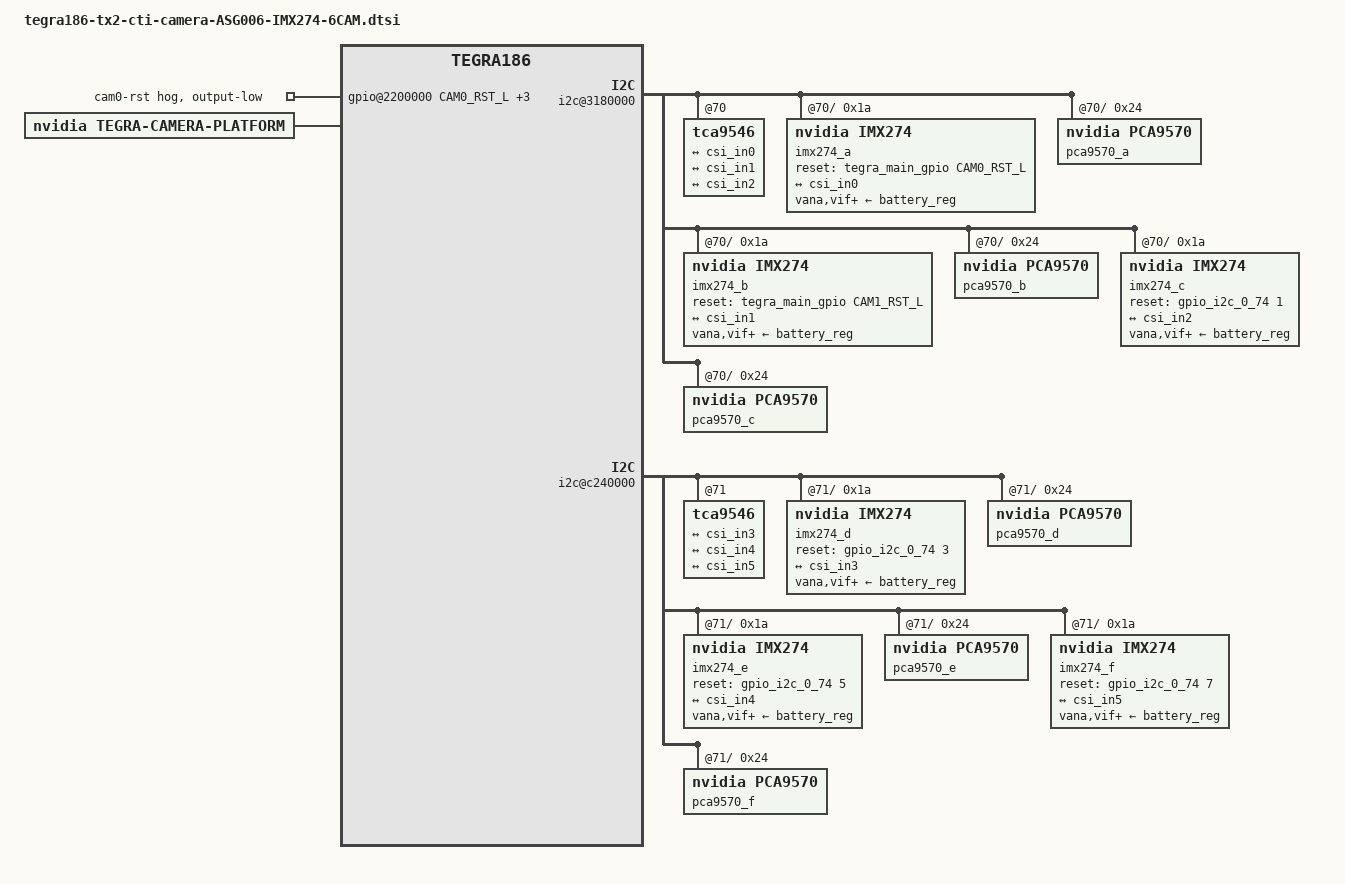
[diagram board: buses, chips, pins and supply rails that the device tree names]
#include <t18x-common-platforms/tegra186-tx2-cti-camera-base.dtsi>
#include "dt-bindings/clock/tegra186-clock.h"


/* camera control gpio definitions */

#define CAM0_RST_L  TEGRA_MAIN_GPIO(R, 5)
#define CAM0_PWDN   TEGRA_MAIN_GPIO(R, 0)
#define CAM1_RST_L  TEGRA_MAIN_GPIO(R, 1)
#define CAM1_PWDN   TEGRA_MAIN_GPIO(N, 2)


/ {
    
    gpio@2200000 {
        camera-control-output-low {
            gpio-hog;
            output-low;
            gpios = <CAM0_RST_L 0 CAM0_PWDN 0
                 CAM1_RST_L 0 CAM1_PWDN 0>;
            label = "cam0-rst", "cam0-pwdn",
                "cam1-rst", "cam1-pwdn";
        };
    };


/**********************SENSORS******************************************************************/

	i2c@3180000 {       //set this to correct i2c bus 
        tca9546@70{    
            i2c@0{  //cam_i2c/Mux@70/I2C_A
                #address-cells = <1>;
                #size-cells = <0>;

                imx274_a@1a {
                    compatible = "nvidia,imx274";
                    reg = <0x1a>;
                    devnode = "video0";

                    /* Physical dimensions of sensor */
                    physical_w = "3.674";
                    physical_h = "2.738";
                    clocks = <&tegra_car TEGRA186_CLK_EXTPERIPH1>,
                             <&tegra_car TEGRA186_CLK_PLLP_OUT0>;
                    clock-names = "extperiph1", "pllp_grtba";
                    mclk = "extperiph1";
                    sensor_model = "imx274";
                    delayed_gain = "true";
                    reset-gpios = <&tegra_main_gpio CAM0_RST_L GPIO_ACTIVE_HIGH>;
                    vana-supply = <&battery_reg>;
                    vif-supply = <&battery_reg>;
                    vdig-supply = <&battery_reg>;
                    avdd-reg = "vana";
                    iovdd-reg = "vif";
                    dvdd-reg = "vdig";

                    mode0 {
                        mclk_khz = "24000";
                        num_lanes = "2";
                        tegra_sinterface = "serial_a";
                        discontinuous_clk = "yes";
                        dpcm_enable = "false";
                        cil_settletime = "0";

                        active_w = "3840";
                        active_h = "2160";
                        pixel_t = "bayer_rggb";
                        readout_orientation = "90";
                        line_length = "4200";
                        inherent_gain = "1";
                        mclk_multiplier = "24";
                        pix_clk_hz = "576000000";

                        min_gain_val = "1.0";
                        max_gain_val = "180";
                        min_hdr_ratio = "1";
                        max_hdr_ratio = "64";
                        min_framerate = "1.462526";
                        max_framerate = "60";
                        min_exp_time = "16.165";
                        max_exp_time = "165770";
                        //embedded_metadata_height = "1";
                    };
                    mode1 { // IMX274_MODE_1920X1080
                        mclk_khz = "24000";
                        num_lanes = "2";
                        tegra_sinterface = "serial_a";
                        discontinuous_clk = "yes";
                        dpcm_enable = "false";
                        cil_settletime = "0";

                        active_w = "1920";
                        active_h = "1080";
                        pixel_t = "bayer_rggb";
                        readout_orientation = "90";
                        line_length = "4200";
                        inherent_gain = "1";
                        mclk_multiplier = "24";
                        pix_clk_hz = "576000000";

                        min_gain_val = "1.0";
                        max_gain_val = "180";
                        min_hdr_ratio = "1";
                        max_hdr_ratio = "64";
                        min_framerate = "1.462526";
                        max_framerate = "60";
                        min_exp_time = "16.165";
                        max_exp_time = "165770";
    //                  embedded_metadata_height = "1";
                    };
                    mode2 { // IMX274_MODE_1280X720
                        mclk_khz = "24000";
                        num_lanes = "2";
                        tegra_sinterface = "serial_a";
                        discontinuous_clk = "yes";
                        dpcm_enable = "false";
                        cil_settletime = "0";

                        active_w = "1280";
                        active_h = "720";
                        pixel_t = "bayer_rggb";
                        readout_orientation = "90";
                        line_length = "4200";
                        inherent_gain = "1";
                        mclk_multiplier = "24";
                        pix_clk_hz = "576000000";

                        min_gain_val = "1.0";
                        max_gain_val = "180";
                        min_hdr_ratio = "1";
                        max_hdr_ratio = "64";
                        min_framerate = "1.462526";
                        max_framerate = "60";
                        min_exp_time = "16.165";
                        max_exp_time = "165770";
    //                  embedded_metadata_height = "1";
                    };

                    mode3 { // IMX274_MODE_1280X540
                        mclk_khz = "24000";
                        num_lanes = "2";
                        tegra_sinterface = "serial_a";
                        discontinuous_clk = "yes";
                        dpcm_enable = "false";
                        cil_settletime = "0";

                        active_w = "1280";
                        active_h = "540";
                        pixel_t = "bayer_rggb";
                        readout_orientation = "90";
                        line_length = "4200";
                        inherent_gain = "1";
                        mclk_multiplier = "24";
                        pix_clk_hz = "576000000";

                        min_gain_val = "1.0";
                        max_gain_val = "180";
                        min_hdr_ratio = "1";
                        max_hdr_ratio = "64";
                        min_framerate = "1.462526";
                        max_framerate = "60";
                        min_exp_time = "16.165";
                        max_exp_time = "165770";
    //                  embedded_metadata_height = "1";
                    };


                    ports {
                        #address-cells = <1>;
                        #size-cells = <0>;

                        port@0 {
                            reg = <0>;
                            imx274_out0: endpoint {
                                csi-port = <0>;
                                bus-width = <2>;
                                remote-endpoint = <&csi_in0>;
                            };
                        };
                    };
                };

                pca9570_a@24 {
                    compatible = "nvidia,pca9570";
                    reg = <0x24>;
                    channel = "a";
                    drive_ic= "DRV8838";
                   };

            };


            i2c@1{  //cam_i2c/Mux@70/I2C_B
                #address-cells = <1>;
                #size-cells = <0>;

                imx274_b@1a {
                    compatible = "nvidia,imx274";
                    reg = <0x1a>;
                    devnode = "video1";

                    /* Physical dimensions of sensor */
                    physical_w = "3.674";
                    physical_h = "2.738";
                    clocks = <&tegra_car TEGRA186_CLK_EXTPERIPH1>,
                             <&tegra_car TEGRA186_CLK_PLLP_OUT0>;
                    clock-names = "extperiph1", "pllp_grtba";
                    mclk = "extperiph1";
                    sensor_model = "imx274";
                    delayed_gain = "true";
                    reset-gpios = <&tegra_main_gpio CAM1_RST_L GPIO_ACTIVE_HIGH>;
                    vana-supply = <&battery_reg>;
                    vif-supply = <&battery_reg>;
                    vdig-supply = <&battery_reg>;
                    avdd-reg = "vana";
                    iovdd-reg = "vif";
                    dvdd-reg = "vdig";

                    mode0 {
                        mclk_khz = "24000";
                        num_lanes = "2";
                        tegra_sinterface = "serial_b";
                        discontinuous_clk = "yes";
                        dpcm_enable = "false";
                        cil_settletime = "0";

                        active_w = "3840";
                        active_h = "2160";
                        pixel_t = "bayer_rggb";
                        readout_orientation = "90";
                        line_length = "4200";
                        inherent_gain = "1";
                        mclk_multiplier = "24";
                        pix_clk_hz = "576000000";

                        min_gain_val = "1.0";
                        max_gain_val = "180";
                        min_hdr_ratio = "1";
                        max_hdr_ratio = "64";
                        min_framerate = "1.462526";
                        max_framerate = "60";
                        min_exp_time = "16.165";
                        max_exp_time = "165770";
                        //embedded_metadata_height = "1";
                    };
                    mode1 { // IMX274_MODE_1920X1080
                        mclk_khz = "24000";
                        num_lanes = "2";
                        tegra_sinterface = "serial_b";
                        discontinuous_clk = "yes";
                        dpcm_enable = "false";
                        cil_settletime = "0";

                        active_w = "1920";
                        active_h = "1080";
                        pixel_t = "bayer_rggb";
                        readout_orientation = "90";
                        line_length = "4200";
                        inherent_gain = "1";
                        mclk_multiplier = "24";
                        pix_clk_hz = "576000000";

                        min_gain_val = "1.0";
                        max_gain_val = "180";
                        min_hdr_ratio = "1";
                        max_hdr_ratio = "64";
                        min_framerate = "1.462526";
                        max_framerate = "60";
                        min_exp_time = "16.165";
                        max_exp_time = "165770";
    //                  embedded_metadata_height = "1";
                    };
                    mode2 { // IMX274_MODE_1280X720
                        mclk_khz = "24000";
                        num_lanes = "2";
                        tegra_sinterface = "serial_b";
                        discontinuous_clk = "yes";
                        dpcm_enable = "false";
                        cil_settletime = "0";

                        active_w = "1280";
                        active_h = "720";
                        pixel_t = "bayer_rggb";
                        readout_orientation = "90";
                        line_length = "4200";
                        inherent_gain = "1";
                        mclk_multiplier = "24";
                        pix_clk_hz = "576000000";

                        min_gain_val = "1.0";
                        max_gain_val = "180";
                        min_hdr_ratio = "1";
                        max_hdr_ratio = "64";
                        min_framerate = "1.462526";
                        max_framerate = "60";
                        min_exp_time = "16.165";
                        max_exp_time = "165770";
    //                  embedded_metadata_height = "1";
                    };

                    mode3 { // IMX274_MODE_1280X540
                        mclk_khz = "24000";
                        num_lanes = "2";
                        tegra_sinterface = "serial_b";
                        discontinuous_clk = "yes";
                        dpcm_enable = "false";
                        cil_settletime = "0";

                        active_w = "1280";
                        active_h = "540";
                        pixel_t = "bayer_rggb";
                        readout_orientation = "90";
                        line_length = "4200";
                        inherent_gain = "1";
                        mclk_multiplier = "24";
                        pix_clk_hz = "576000000";

                        min_gain_val = "1.0";
                        max_gain_val = "180";
                        min_hdr_ratio = "1";
                        max_hdr_ratio = "64";
                        min_framerate = "1.462526";
                        max_framerate = "60";
                        min_exp_time = "16.165";
                        max_exp_time = "165770";
    //                  embedded_metadata_height = "1";
                    };


                    ports {
                        #address-cells = <1>;
                        #size-cells = <0>;

                        port@0 {
                            reg = <0>;
                            imx274_out1: endpoint {
                                csi-port = <1>;
                                bus-width = <2>;
                                remote-endpoint = <&csi_in1>;
                            };
                        };
                    };
                };

                pca9570_b@24 {
                    compatible = "nvidia,pca9570";
                    reg = <0x24>;
                    channel = "b";
                    drive_ic= "DRV8838";
                   };

            };


            i2c@2 { //cam_i2c/Mux@70/I2C_C
                #address-cells = <1>;
                #size-cells = <0>;
                imx274_c@1a {
                    compatible = "nvidia,imx274";
                    reg = <0x1a>;
                    devnode = "video2";

                    /* Physical dimensions of sensor */
                    physical_w = "3.674";
                    physical_h = "2.738";

                    /* Define any required hw resources needed by driver */
                    /* ie. clocks, io pins, power sources */
                    clocks = <&tegra_car TEGRA186_CLK_EXTPERIPH2>,
                         <&tegra_car TEGRA186_CLK_PLLP_OUT0>;
                    clock-names = "extperiph2", "pllp_grtba";
                    mclk = "extperiph2";
                    reset-gpios = <&gpio_i2c_0_74 1 GPIO_ACTIVE_HIGH>;
                    vana-supply = <&battery_reg>;
                    vif-supply = <&battery_reg>;
                    vdig-supply = <&battery_reg>;
                    avdd-reg = "vana";
                    iovdd-reg = "vif";
                    dvdd-reg = "vdig";

                    mode0 {
                        mclk_khz = "24000";
                        num_lanes = "2";
                        tegra_sinterface = "serial_c";
                        discontinuous_clk = "yes";
                        dpcm_enable = "false";
                        cil_settletime = "0";

                        active_w = "3840";
                        active_h = "2160";
                        pixel_t = "bayer_rggb";
                        readout_orientation = "90";
                        line_length = "4200";
                        inherent_gain = "1";
                        mclk_multiplier = "24";
                        pix_clk_hz = "576000000";

                        min_gain_val = "1.0";
                        max_gain_val = "180";
                        min_hdr_ratio = "1";
                        max_hdr_ratio = "64";
                        min_framerate = "1.462526";
                        max_framerate = "60";
                        min_exp_time = "16.165";
                        max_exp_time = "165770";
                        //embedded_metadata_height = "1";
                    };

                    mode1 { // IMX274_MODE_1920X1080
                        mclk_khz = "24000";
                        num_lanes = "2";
                        tegra_sinterface = "serial_c";
                        discontinuous_clk = "yes";
                        dpcm_enable = "false";
                        cil_settletime = "0";

                        active_w = "1920";
                        active_h = "1080";
                        pixel_t = "bayer_rggb";
                        readout_orientation = "90";
                        line_length = "4200";
                        inherent_gain = "1";
                        mclk_multiplier = "24";
                        pix_clk_hz = "576000000";

                        min_gain_val = "1.0";
                        max_gain_val = "180";
                        min_hdr_ratio = "1";
                        max_hdr_ratio = "64";
                        min_framerate = "1.462526";
                        max_framerate = "60";
                        min_exp_time = "16.165";
                        max_exp_time = "165770";
    //                  embedded_metadata_height = "1";
                    };
                    mode2 { // IMX274_MODE_1280X720
                        mclk_khz = "24000";
                        num_lanes = "2";
                        tegra_sinterface = "serial_c";
                        discontinuous_clk = "yes";
                        dpcm_enable = "false";
                        cil_settletime = "0";

                        active_w = "1280";
                        active_h = "720";
                        pixel_t = "bayer_rggb";
                        readout_orientation = "90";
                        line_length = "4200";
                        inherent_gain = "1";
                        mclk_multiplier = "24";
                        pix_clk_hz = "576000000";

                        min_gain_val = "1.0";
                        max_gain_val = "180";
                        min_hdr_ratio = "1";
                        max_hdr_ratio = "64";
                        min_framerate = "1.462526";
                        max_framerate = "60";
                        min_exp_time = "16.165";
                        max_exp_time = "165770";
    //                  embedded_metadata_height = "1";
                    };
                    mode3 { // IMX274_MODE_1280X540
                        mclk_khz = "24000";
                        num_lanes = "2";
                        tegra_sinterface = "serial_c";
                        discontinuous_clk = "yes";
                        dpcm_enable = "false";
                        cil_settletime = "0";

                        active_w = "1280";
                        active_h = "540";
                        pixel_t = "bayer_rggb";
                        readout_orientation = "90";
                        line_length = "4200";
                        inherent_gain = "1";
                        mclk_multiplier = "24";
                        pix_clk_hz = "576000000";

                        min_gain_val = "1.0";
                        max_gain_val = "180";
                        min_hdr_ratio = "1";
                        max_hdr_ratio = "64";
                        min_framerate = "1.462526";
                        max_framerate = "60";
                        min_exp_time = "16.165";
                        max_exp_time = "165770";
    //                  embedded_metadata_height = "1";
                    };

                    ports {
                        #address-cells = <1>;
                        #size-cells = <0>;

                        port@0 {
                            reg = <0>;
                            imx274_out2: endpoint {
                                csi-port = <2>;
                                bus-width = <2>;
                                remote-endpoint = <&csi_in2>;
                            };
                        };
                    };
                };

                pca9570_c@24 {
                    compatible = "nvidia,pca9570";
                    reg = <0x24>;
                    channel = "c";
                    drive_ic= "DRV8838";
                   };

            };
        };
	};

    i2c@c240000 {
        tca9546@71{
            i2c@0 { //gen_i2c_0/Mux@71/I2C_D
                #address-cells = <1>;
                #size-cells = <0>;
                imx274_d@1a {
                    compatible = "nvidia,imx274";
                    reg = <0x1a>;
                    devnode = "video3";
                    /* Physical dimensions of sensor */

                    physical_w = "3.674";
                    physical_h = "2.738";
                    /* Define any required hw resources needed by driver */
                    /* ie. clocks, io pins, power sources */
                    clocks = <&tegra_car TEGRA186_CLK_EXTPERIPH2>,
                             <&tegra_car TEGRA186_CLK_PLLP_OUT0>;
                    clock-names = "extperiph2", "pllp_grtba";
                    mclk = "extperiph2";
                    reset-gpios = <&gpio_i2c_0_74 3 GPIO_ACTIVE_HIGH>;
                    vana-supply = <&battery_reg>;
                    vif-supply = <&battery_reg>;
                    vdig-supply = <&battery_reg>;

                    /* Define any required hw resources needed by driver */
                    /* ie. clocks, io pins, power sources */
                    avdd-reg = "vana";
                    iovdd-reg = "vif";
                    dvdd-reg = "vdig";

                    mode0 {
                        mclk_khz = "24000";
                        num_lanes = "2";
                        tegra_sinterface = "serial_d";
                        discontinuous_clk = "yes";
                        dpcm_enable = "false";
                        cil_settletime = "0";

                        active_w = "3840";
                        active_h = "2160";
                        pixel_t = "bayer_rggb";
                        readout_orientation = "90";
                        line_length = "4200";
                        inherent_gain = "1";
                        mclk_multiplier = "24";
                        pix_clk_hz = "576000000";

                        min_gain_val = "1.0";
                        max_gain_val = "180";
                        min_hdr_ratio = "1";
                        max_hdr_ratio = "64";
                        min_framerate = "1.462526";
                        max_framerate = "60";
                        min_exp_time = "16.165";
                        max_exp_time = "165770";
                        //embedded_metadata_height = "1";
                    };

                    mode1 { // IMX274_MODE_1920X1080
                        mclk_khz = "24000";
                        num_lanes = "2";
                        tegra_sinterface = "serial_d";
                        discontinuous_clk = "yes";
                        dpcm_enable = "false";
                        cil_settletime = "0";

                        active_w = "1920";
                        active_h = "1080";
                        pixel_t = "bayer_rggb";
                        readout_orientation = "90";
                        line_length = "4200";
                        inherent_gain = "1";
                        mclk_multiplier = "24";
                        pix_clk_hz = "576000000";

                        min_gain_val = "1.0";
                        max_gain_val = "180";
                        min_hdr_ratio = "1";
                        max_hdr_ratio = "64";
                        min_framerate = "1.462526";
                        max_framerate = "60";
                        min_exp_time = "16.165";
                        max_exp_time = "165770";
    //                  embedded_metadata_height = "1";
                    };
                    mode2 { // IMX274_MODE_1280X720
                        mclk_khz = "24000";
                        num_lanes = "2";
                        tegra_sinterface = "serial_d";
                        discontinuous_clk = "yes";
                        dpcm_enable = "false";
                        cil_settletime = "0";

                        active_w = "1280";
                        active_h = "720";
                        pixel_t = "bayer_rggb";
                        readout_orientation = "90";
                        line_length = "4200";
                        inherent_gain = "1";
                        mclk_multiplier = "24";
                        pix_clk_hz = "576000000";

                        min_gain_val = "1.0";
                        max_gain_val = "180";
                        min_hdr_ratio = "1";
                        max_hdr_ratio = "64";
                        min_framerate = "1.462526";
                        max_framerate = "60";
                        min_exp_time = "16.165";
                        max_exp_time = "165770";
    //                  embedded_metadata_height = "1";
                    };
                    mode3 { // IMX274_MODE_1280X540
                        mclk_khz = "24000";
                        num_lanes = "2";
                        tegra_sinterface = "serial_d";
                        discontinuous_clk = "yes";
                        dpcm_enable = "false";
                        cil_settletime = "0";

                        active_w = "1280";
                        active_h = "540";
                        pixel_t = "bayer_rggb";
                        readout_orientation = "90";
                        line_length = "4200";
                        inherent_gain = "1";
                        mclk_multiplier = "24";
                        pix_clk_hz = "576000000";

                        min_gain_val = "1.0";
                        max_gain_val = "180";
                        min_hdr_ratio = "1";
                        max_hdr_ratio = "64";
                        min_framerate = "1.462526";
                        max_framerate = "60";
                        min_exp_time = "16.165";
                        max_exp_time = "165770";
    //                  embedded_metadata_height = "1";
                    };
                    ports {
                        #address-cells = <1>;
                        #size-cells = <0>;

                        port@0 {
                            reg = <0>;
                            imx274_out3: endpoint {
                                csi-port = <3>;
                                bus-width = <2>;
                                remote-endpoint = <&csi_in3>;
                            };
                        };
                    }; 
                };
                pca9570_d@24 {
                    compatible = "nvidia,pca9570";
                    reg = <0x24>;
                    channel = "d";
                    drive_ic= "DRV8838";
                   };
            };

            i2c@1 { //gen_i2c_0/Mux@71/I2C_E
                #address-cells = <1>;
                #size-cells = <0>;
                imx274_e@1a {
                    compatible = "nvidia,imx274";
                    reg = <0x1a>;
                    devnode = "video4";
                    /* Physical dimensions of sensor */

                    physical_w = "3.674";
                    physical_h = "2.738";
                    /* Define any required hw resources needed by driver */
                    /* ie. clocks, io pins, power sources */
                    clocks = <&tegra_car TEGRA186_CLK_EXTPERIPH1>,
                             <&tegra_car TEGRA186_CLK_PLLP_OUT0>;
                    clock-names = "extperiph1", "pllp_grtba";
                    mclk = "extperiph1";
                    reset-gpios = <&gpio_i2c_0_74 5 GPIO_ACTIVE_HIGH>;
                    vana-supply = <&battery_reg>;
                    vif-supply = <&battery_reg>;
                    vdig-supply = <&battery_reg>;



                    /* Define any required hw resources needed by driver */
                    /* ie. clocks, io pins, power sources */
                    avdd-reg = "vana";
                    iovdd-reg = "vif";
                    dvdd-reg = "vdig";

                    mode0 {
                        mclk_khz = "24000";
                        num_lanes = "2";
                        tegra_sinterface = "serial_e";
                        discontinuous_clk = "yes";
                        dpcm_enable = "false";
                        cil_settletime = "0";

                        active_w = "3840";
                        active_h = "2160";
                        pixel_t = "bayer_rggb";
                        readout_orientation = "90";
                        line_length = "4200";
                        inherent_gain = "1";
                        mclk_multiplier = "24";
                        pix_clk_hz = "576000000";

                        min_gain_val = "1.0";
                        max_gain_val = "180";
                        min_hdr_ratio = "1";
                        max_hdr_ratio = "64";
                        min_framerate = "1.462526";
                        max_framerate = "60";
                        min_exp_time = "16.165";
                        max_exp_time = "165770";
                        //embedded_metadata_height = "1";
                    };

                    mode1 { // IMX274_MODE_1920X1080
                        mclk_khz = "24000";
                        num_lanes = "2";
                        tegra_sinterface = "serial_e";
                        discontinuous_clk = "yes";
                        dpcm_enable = "false";
                        cil_settletime = "0";

                        active_w = "1920";
                        active_h = "1080";
                        pixel_t = "bayer_rggb";
                        readout_orientation = "90";
                        line_length = "4200";
                        inherent_gain = "1";
                        mclk_multiplier = "24";
                        pix_clk_hz = "576000000";

                        min_gain_val = "1.0";
                        max_gain_val = "180";
                        min_hdr_ratio = "1";
                        max_hdr_ratio = "64";
                        min_framerate = "1.462526";
                        max_framerate = "60";
                        min_exp_time = "16.165";
                        max_exp_time = "165770";
    //                  embedded_metadata_height = "1";
                    };
                    mode2 { // IMX274_MODE_1280X720
                        mclk_khz = "24000";
                        num_lanes = "2";
                        tegra_sinterface = "serial_e";
                        discontinuous_clk = "yes";
                        dpcm_enable = "false";
                        cil_settletime = "0";

                        active_w = "1280";
                        active_h = "720";
                        pixel_t = "bayer_rggb";
                        readout_orientation = "90";
                        line_length = "4200";
                        inherent_gain = "1";
                        mclk_multiplier = "24";
                        pix_clk_hz = "576000000";

                        min_gain_val = "1.0";
                        max_gain_val = "180";
                        min_hdr_ratio = "1";
                        max_hdr_ratio = "64";
                        min_framerate = "1.462526";
                        max_framerate = "60";
                        min_exp_time = "16.165";
                        max_exp_time = "165770";
    //                  embedded_metadata_height = "1";
                    };
                    mode3 { // IMX274_MODE_1280X540
                        mclk_khz = "24000";
                        num_lanes = "2";
                        tegra_sinterface = "serial_e";
                        discontinuous_clk = "yes";
                        dpcm_enable = "false";
                        cil_settletime = "0";

                        active_w = "1280";
                        active_h = "540";
                        pixel_t = "bayer_rggb";
                        readout_orientation = "90";
                        line_length = "4200";
                        inherent_gain = "1";
                        mclk_multiplier = "24";
                        pix_clk_hz = "576000000";

                        min_gain_val = "1.0";
                        max_gain_val = "180";
                        min_hdr_ratio = "1";
                        max_hdr_ratio = "64";
                        min_framerate = "1.462526";
                        max_framerate = "60";
                        min_exp_time = "16.165";
                        max_exp_time = "165770";
    //                  embedded_metadata_height = "1";
                    };
                    ports {
                        #address-cells = <1>;
                        #size-cells = <0>;

                        port@0 {
                            reg = <0>;
                            imx274_out4: endpoint {
                                csi-port = <4>;
                                bus-width = <2>;
                                remote-endpoint = <&csi_in4>;
                            };
                        };
                    }; 
                };

                pca9570_e@24 {
                    compatible = "nvidia,pca9570";
                    reg = <0x24>;
                    channel = "e";
                    drive_ic= "DRV8838";
                   };
            };

            i2c@2 { //gen_i2c_0/Mux@71/I2C_F
                #address-cells = <1>;
                #size-cells = <0>;
                imx274_f@1a {
                    compatible = "nvidia,imx274";
                    reg = <0x1a>;
                    devnode = "video5";
                    /* Physical dimensions of sensor */

                    physical_w = "3.674";
                    physical_h = "2.738";
                    /* Define any required hw resources needed by driver */
                    /* ie. clocks, io pins, power sources */
                    clocks = <&tegra_car TEGRA186_CLK_EXTPERIPH2>,
                             <&tegra_car TEGRA186_CLK_PLLP_OUT0>;
                    clock-names = "extperiph2", "pllp_grtba";
                    mclk = "extperiph2";
                    reset-gpios = <&gpio_i2c_0_74 7 GPIO_ACTIVE_HIGH>;
                    vana-supply = <&battery_reg>;
                    vif-supply = <&battery_reg>;
                    vdig-supply = <&battery_reg>;

                    /* Define any required hw resources needed by driver */
                    /* ie. clocks, io pins, power sources */
                    avdd-reg = "vana";
                    iovdd-reg = "vif";
                    dvdd-reg = "vdig";

                    mode0 {
                        mclk_khz = "24000";
                        num_lanes = "2";
                        tegra_sinterface = "serial_f";
                        discontinuous_clk = "yes";
                        dpcm_enable = "false";
                        cil_settletime = "0";

                        active_w = "3840";
                        active_h = "2160";
                        pixel_t = "bayer_rggb";
                        readout_orientation = "90";
                        line_length = "4200";
                        inherent_gain = "1";
                        mclk_multiplier = "24";
                        pix_clk_hz = "576000000";

                        min_gain_val = "1.0";
                        max_gain_val = "180";
                        min_hdr_ratio = "1";
                        max_hdr_ratio = "64";
                        min_framerate = "1.462526";
                        max_framerate = "60";
                        min_exp_time = "16.165";
                        max_exp_time = "165770";
                        //embedded_metadata_height = "1";
                    };

                    mode1 { // IMX274_MODE_1920X1080
                        mclk_khz = "24000";
                        num_lanes = "2";
                        tegra_sinterface = "serial_f";
                        discontinuous_clk = "yes";
                        dpcm_enable = "false";
                        cil_settletime = "0";

                        active_w = "1920";
                        active_h = "1080";
                        pixel_t = "bayer_rggb";
                        readout_orientation = "90";
                        line_length = "4200";
                        inherent_gain = "1";
                        mclk_multiplier = "24";
                        pix_clk_hz = "576000000";

                        min_gain_val = "1.0";
                        max_gain_val = "180";
                        min_hdr_ratio = "1";
                        max_hdr_ratio = "64";
                        min_framerate = "1.462526";
                        max_framerate = "60";
                        min_exp_time = "16.165";
                        max_exp_time = "165770";
    //                  embedded_metadata_height = "1";
                    };
                    mode2 { // IMX274_MODE_1280X720
                        mclk_khz = "24000";
                        num_lanes = "2";
                        tegra_sinterface = "serial_f";
                        discontinuous_clk = "yes";
                        dpcm_enable = "false";
                        cil_settletime = "0";

                        active_w = "1280";
                        active_h = "720";
                        pixel_t = "bayer_rggb";
                        readout_orientation = "90";
                        line_length = "4200";
                        inherent_gain = "1";
                        mclk_multiplier = "24";
                        pix_clk_hz = "576000000";

                        min_gain_val = "1.0";
                        max_gain_val = "180";
                        min_hdr_ratio = "1";
                        max_hdr_ratio = "64";
                        min_framerate = "1.462526";
                        max_framerate = "60";
                        min_exp_time = "16.165";
                        max_exp_time = "165770";
    //                  embedded_metadata_height = "1";
                    };
                    mode3 { // IMX274_MODE_1280X540
                        mclk_khz = "24000";
                        num_lanes = "2";
                        tegra_sinterface = "serial_f";
                        discontinuous_clk = "yes";
                        dpcm_enable = "false";
                        cil_settletime = "0";

                        active_w = "1280";
                        active_h = "540";
                        pixel_t = "bayer_rggb";
                        readout_orientation = "90";
                        line_length = "4200";
                        inherent_gain = "1";
                        mclk_multiplier = "24";
                        pix_clk_hz = "576000000";

                        min_gain_val = "1.0";
                        max_gain_val = "180";
                        min_hdr_ratio = "1";
                        max_hdr_ratio = "64";
                        min_framerate = "1.462526";
                        max_framerate = "60";
                        min_exp_time = "16.165";
                        max_exp_time = "165770";
    //                  embedded_metadata_height = "1";
                    };
                    ports {
                        #address-cells = <1>;
                        #size-cells = <0>;

                        port@0 {
                            reg = <0>;
                            imx274_out5: endpoint {
                                csi-port = <5>;
                                bus-width = <2>;
                                remote-endpoint = <&csi_in5>;
                            };
                        };
                    }; 
                };
                pca9570_f@24 {
                    compatible = "nvidia,pca9570";
                    reg = <0x24>;
                    channel = "f";
                    drive_ic= "DRV8838";
                   };

            };
        };
    };

/**********************VI******************************************************************/

     host1x {
        vi@15700000 {
            num-channels = <6>; //set number of channels
            status = "okay";
            ports {
                port@0 {
                    status = "okay";
                    endpoint {
                        status = "okay";
                        csi-port = <0>;
                        bus-width = <2>;
                        remote-endpoint = <&csi_out0>; 
                    };
                };

                port@1 {
                    status = "okay";
                    endpoint {
                        status = "okay";
                        csi-port = <1>;
                        bus-width = <2>;
                        remote-endpoint = <&csi_out1>; 
                    };
                };
                port@2 {
                    status = "okay";
                    endpoint {
                        status = "okay";
                        csi-port = <2>;
                        bus-width = <2>;
                        remote-endpoint = <&csi_out2>; 
                    };
                };
                port@3 {
                    status = "okay";
                    endpoint {
                        status = "okay";
                        csi-port = <3>;
                        bus-width = <2>;
                        remote-endpoint = <&csi_out3>; 
                    };
                };

                port@4 {
                    status = "okay";
                    endpoint {
                        status = "okay";
                        csi-port = <4>;
                        bus-width = <2>;
                        remote-endpoint = <&csi_out4>; 
                    };
                };
                port@5 {
                    status = "okay";
                    endpoint {
                        status = "okay";
                        csi-port = <5>;
                        bus-width = <2>;
                        remote-endpoint = <&csi_out5>; 
                    };
                };
            };
        };

/**********************CSI******************************************************************/
        nvcsi@150c0000 {
            num-channels = <6>;

            channel@0 {
                status = "okay";
                ports {
                     port@0 {
                        status = "okay";
                        endpoint@0 {
                            csi-port = <0>;
                            bus-width = <2>;
                            remote-endpoint = <&imx274_out0>; //should be sensor port under i2c endpoint
                            status = "okay";

                        };
                    };
                    port@1 {
                        status = "okay";
                        endpoint@1 {
                            status = "okay";
                            remote-endpoint = <&vi_in0>; 
                        };
                    };
                };
            };

            channel@1 {
                status = "okay";
                ports {
                    port@0 {
                        status = "okay";
                        endpoint@2 {
                            csi-port = <1>;
                            bus-width = <2>;
                            remote-endpoint = <&imx274_out1>; //should be sensor port under i2c endpoint
                            status = "okay";

                        };
                    };
                    port@1 {
                        status = "okay";
                        endpoint@3 {
                            status = "okay";
                            remote-endpoint = <&vi_in1>; 
                        };
                    };
                };
            };
            channel@2 {
                status = "okay";
                ports {
                    port@0 {
                        status = "okay";
                        endpoint@4 {
                            csi-port = <2>;
                            bus-width = <2>;
                            remote-endpoint = <&imx274_out2>; //should be sensor port under i2c endpoint
                            status = "okay";
                        };
                    };
                    port@1 {
                        status = "okay";
                        endpoint@5 {
                            status = "okay";
                            remote-endpoint = <&vi_in2>; 
                        };
                    };
                };
            };
        

            channel@3 {
                status = "okay";
                ports {
                     port@0 {
                        status = "okay";
                        endpoint@6 {
                            csi-port = <3>;
                            bus-width = <2>;
                            remote-endpoint = <&imx274_out3>; //should be sensor port under i2c endpoint
                            status = "okay";

                        };
                    };
                    port@1 {
                        status = "okay";
                        endpoint@7 {
                            status = "okay";
                            remote-endpoint = <&vi_in3>; 
                        };
                    };
                };
            };

            channel@4 {
                status = "okay";
                ports {
                    port@0 {
                        status = "okay";
                        endpoint@8 {
                            csi-port = <4>;
                            bus-width = <2>;
                            remote-endpoint = <&imx274_out4>; //should be sensor port under i2c endpoint
                            status = "okay";

                        };
                    };
                    port@1 {
                        status = "okay";
                        endpoint@9 {
                            status = "okay";
                            remote-endpoint = <&vi_in4>; 
                        };
                    };
                };
            };
            channel@5 {
                status = "okay";
                ports {
                    port@0 {
                        status = "okay";
                        endpoint@10 {
                            csi-port = <5>;
                            bus-width = <2>;
                            remote-endpoint = <&imx274_out5>; //should be sensor port under i2c endpoint
                            status = "okay";
                        };
                    };
                    port@1 {
                        status = "okay";
                        endpoint@11 {
                            status = "okay";
                            remote-endpoint = <&vi_in5>; 
                        };
                    };
                };
            };
        };
    };
    lens_imx274@A6V26 {
        min_focus_distance = "0.0";
        hyper_focal = "0.0";
        focal_length = "5.00";
        f_number = "2.0";
        aperture = "2.2";
    };

/**********************CAMERA PLATFORM*************************************************************/

    tegra-camera-platform {
        compatible = "nvidia, tegra-camera-platform";
        /**
        * Physical settings to calculate max ISO BW
        *
        * num_csi_lanes = <>;
        * Total number of CSI lanes when all cameras are active
        *
        * max_lane_speed = <>;
        * Max lane speed in Kbit/s
        *
        * min_bits_per_pixel = <>;
        * Min bits per pixel
        *
        * vi_peak_byte_per_pixel = <>;
        * Max byte per pixel for the VI ISO case
        *
        * vi_bw_margin_pct = <>;
        * Vi bandwidth margin in percentage
        *
        * max_pixel_rate = <>;
        * Max pixel rate in Kpixel/s for the ISP ISO case
        * Set this to the highest pix_clk_hz out of all available modes.
        *
        * isp_peak_byte_per_pixel = <>;
        * Max byte per pixel for the ISP ISO case
        *
        * isp_bw_margin_pct = <>;
        * Isp bandwidth margin in percentage
        */
        num_csi_lanes = <12>;
        max_lane_speed = <1500000>;
        min_bits_per_pixel = <10>;
        vi_peak_byte_per_pixel = <2>;
        vi_bw_margin_pct = <25>;
        max_pixel_rate = <750000>;
        isp_peak_byte_per_pixel = <5>;
        isp_bw_margin_pct = <25>;

        /**
        * The general guideline for naming badge_info contains 3 parts, and is as follows,
        * The first part is the camera_board_id for the module; if the module is in a FFD
        * platform, then use the platform name for this part.
        * The second part contains the position of the module, ex. “rear” or “front”.
        * The third part contains the last 6 characters of a part number which is found
        * in the module's specsheet from the vender.
        */
        modules {

            module0 {
                badge = "imx274_topright_A6V26";
                position = "topright";
                orientation = "0";
                status = "okay";
                drivernode0 {
                    status = "okay";
                    pcl_id = "v4l2_sensor";
                    devname = "imx274 30-001a";
                    proc-device-tree = "/proc/device-tree/i2c@3180000/tca9546@70/i2c@0/imx274_a@1a";
                };
                drivernode1 {
                    status = "okay";
                    pcl_id = "v4l2_lens";
                    proc-device-tree = "/proc/device-tree/lens_imx274@A6V26/";
                };
            };

            module1 {
                badge = "imx274_bottomright_A6V26";
                position = "bottomright";
                orientation = "0";
                status = "okay";
                drivernode0 {
                status = "okay";
                    pcl_id = "v4l2_sensor";
                    devname = "imx274 31-001a";
                    proc-device-tree = "/proc/device-tree/i2c@3180000/tca9546@70/i2c@1/imx274_b@1a";
                };
                drivernode1 {
                status = "okay";
                    pcl_id = "v4l2_lens";
                    proc-device-tree = "/proc/device-tree/lens_imx274@A6V26/";
                };
            };

            module2 {
                badge = "imx274_centerleft_A6V26";
                position = "centerleft";
                orientation = "0";
                status = "okay";
                drivernode0 {
                status = "okay";
                    pcl_id = "v4l2_sensor";
                    devname = "imx274 32-001a";
                    proc-device-tree = "/proc/device-tree/i2c@3180000/tca9546@70/i2c@2/imx274_c@1a";
                };
                drivernode1 {
                status = "okay";
                    pcl_id = "v4l2_lens";
                    proc-device-tree = "/proc/device-tree/lens_imx274@A6V26/";
                };
            };

            module3 {
                badge = "imx274_centerright_A6V26";
                position = "centerright";
                orientation = "0";
                status = "okay";
                drivernode0 {
                    status = "okay";
                    pcl_id = "v4l2_sensor";
                    devname = "imx274 34-001a";
                    proc-device-tree = "/proc/device-tree/i2c@c240000/tca9546@71/i2c@0/imx274_d@1a";
                };
                drivernode1 {
                    status = "okay";
                    pcl_id = "v4l2_lens";
                    proc-device-tree = "/proc/device-tree/lens_imx274@A6V26/";
                };
            };

            module4 {
                badge = "imx274_topleft_A6V26";
                position = "topleft";
                orientation = "0";
                status = "okay";
                drivernode0 {
                status = "okay";
                    pcl_id = "v4l2_sensor";
                    devname = "imx274 35-001a";
                    proc-device-tree = "/proc/device-tree/i2c@c240000/tca9546@71/i2c@1/imx274_e@1a";
                };
                drivernode1 {
                status = "okay";
                    pcl_id = "v4l2_lens";
                    proc-device-tree = "/proc/device-tree/lens_imx274@A6V26/";
                };
            };

            module5 {
                badge = "imx274_bottomleft_A6V26";
                position = "bottomleft";
                orientation = "0";
                status = "okay";
                drivernode0 {
                status = "okay";
                    pcl_id = "v4l2_sensor";
                    devname = "imx274 36-001a";
                    proc-device-tree = "/proc/device-tree/i2c@c240000/tca9546@71/i2c@2/imx274_f@1a";
                };
                drivernode1 {
                status = "okay";
                    pcl_id = "v4l2_lens";
                    proc-device-tree = "/proc/device-tree/lens_imx274@A6V26/";
                };
            };
        };
    };
};
